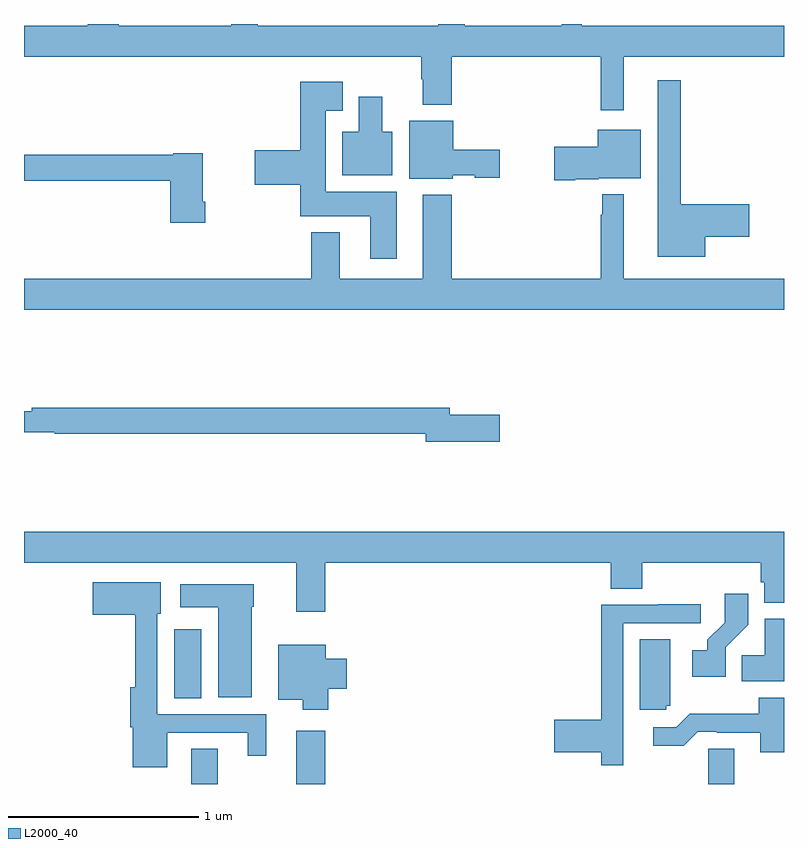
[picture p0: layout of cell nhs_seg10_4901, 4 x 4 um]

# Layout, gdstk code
import gdstk
lib = gdstk.Library(unit=1e-6, precision=1e-09)
def R(c, l, rs):  # rectangles x0, y0, x1, y1
    for r in rs: c.add(gdstk.rectangle(r[:2], r[2:], *l))
def P(c, l, *ps):  # polygons
    for p in ps: c.add(gdstk.Polygon(p, *l))
L2000_40 = (2000, 40)

nhs_seg10_4901 = lib.new_cell('nhs_seg10_4901')
R(nhs_seg10_4901, L2000_40, [(393.881,1284.5,394.021,1284.686), (394.433,1284.5,394.586,1284.781), (396.6,1284.5,396.739,1284.686), (393.791,1284.952,393.934,1285.315)])
P(nhs_seg10_4901, L2000_40, [(396.157,1288.328),(397,1288.328),(397,1288.492),(395.935,1288.492),(395.935,1288.5),(395.831,1288.5),(395.831,1288.492),(395.32,1288.492),(395.32,1288.5),(395.181,1288.5),(395.181,1288.492),(394.231,1288.492),(394.231,1288.5),(394.091,1288.5),(394.091,1288.492),(393.499,1288.492),(393.499,1288.5),(393.335,1288.5),(393.335,1288.492),(393,1288.492),(393,1288.328),(395.092,1288.328),(395.092,1288.208),(395.099,1288.208),(395.099,1288.076),(395.252,1288.076),(395.252,1288.328),(396.036,1288.328),(396.036,1288.047),(396.157,1288.047)],
  [(396.586,1287.38),(396.817,1287.38),(396.817,1287.551),(396.457,1287.551),(396.457,1288.204),(396.335,1288.204),(396.335,1287.275),(396.586,1287.275)],
  [(394.963,1287.616),(394.588,1287.616),(394.588,1288.043),(394.678,1288.043),(394.678,1288.195),(394.454,1288.195),(394.454,1287.836),(394.215,1287.836),(394.215,1287.653),(394.454,1287.653),(394.454,1287.488),(394.823,1287.488),(394.823,1287.264),(394.963,1287.264)],
  [(394.939,1287.934),(394.885,1287.934),(394.885,1288.117),(394.763,1288.117),(394.763,1287.934),(394.676,1287.934),(394.676,1287.704),(394.939,1287.704)],
  [(395.256,1287.704),(395.373,1287.704),(395.373,1287.692),(395.503,1287.692),(395.503,1287.839),(395.26,1287.839),(395.26,1287.991),(395.027,1287.991),(395.027,1287.686),(395.256,1287.686)],
  [(395.902,1287.683),(396.024,1287.683),(396.024,1287.689),(396.247,1287.689),(396.247,1287.943),(396.02,1287.943),(396.02,1287.855),(395.79,1287.855),(395.79,1287.677),(395.902,1287.677)],
  [(393.953,1287.565),(393.94,1287.565),(393.94,1287.82),(393.786,1287.82),(393.786,1287.812),(393,1287.812),(393,1287.676),(393.77,1287.676),(393.77,1287.453),(393.953,1287.453)],
  [(397,1287.16),(396.157,1287.16),(396.157,1287.604),(396.043,1287.604),(396.043,1287.497),(396.036,1287.497),(396.036,1287.16),(395.252,1287.16),(395.252,1287.601),(395.099,1287.601),(395.099,1287.16),(394.663,1287.16),(394.663,1287.403),(394.511,1287.403),(394.511,1287.16),(393,1287.16),(393,1286.996),(397,1286.996)],
  [(395.503,1286.444),(395.242,1286.444),(395.242,1286.48),(393.04,1286.48),(393.04,1286.461),(393,1286.461),(393,1286.352),(393.161,1286.352),(393.161,1286.344),(395.114,1286.344),(395.114,1286.302),(395.503,1286.302)],
  [(394.586,1285.664),(396.089,1285.664),(396.089,1285.528),(396.254,1285.528),(396.254,1285.664),(396.877,1285.664),(396.877,1285.563),(396.897,1285.563),(396.897,1285.454),(397,1285.454),(397,1285.828),(393,1285.828),(393,1285.664),(394.433,1285.664),(394.433,1285.407),(394.586,1285.407)],
  [(393.754,1284.771),(394.178,1284.771),(394.178,1284.648),(394.276,1284.648),(394.276,1284.867),(393.702,1284.867),(393.702,1285.395),(393.721,1285.395),(393.721,1285.561),(393.363,1285.561),(393.363,1285.391),(393.586,1285.391),(393.586,1285.009),(393.56,1285.009),(393.56,1284.798),(393.572,1284.798),(393.572,1284.587),(393.754,1284.587)],
  [(394.198,1285.434),(394.21,1285.434),(394.21,1285.552),(393.822,1285.552),(393.822,1285.43),(394.022,1285.43),(394.022,1284.956),(394.198,1284.956)],
  [(396.693,1285.219),(396.812,1285.338),(396.812,1285.501),(396.687,1285.501),(396.687,1285.349),(396.596,1285.259),(396.596,1285.204),(396.516,1285.204),(396.516,1285.064),(396.693,1285.064)],
  [(396.154,1284.822),(396.153,1284.822),(396.153,1285.347),(396.562,1285.347),(396.562,1285.446),(396.337,1285.446),(396.337,1285.443),(396.037,1285.443),(396.037,1284.839),(395.79,1284.839),(395.79,1284.668),(396.037,1284.668),(396.037,1284.6),(396.154,1284.6)],
  [(397,1285.369),(396.899,1285.369),(396.899,1285.178),(396.778,1285.178),(396.778,1285.04),(397,1285.04)],
  [(396.381,1284.912),(396.4,1284.912),(396.4,1285.261),(396.242,1285.261),(396.242,1284.891),(396.381,1284.891)],
  [(394.601,1285.001),(394.699,1285.001),(394.699,1285.159),(394.588,1285.159),(394.588,1285.234),(394.337,1285.234),(394.337,1284.944),(394.466,1284.944),(394.466,1284.89),(394.601,1284.89)],
  [(397,1284.955),(396.868,1284.955),(396.868,1284.871),(396.505,1284.871),(396.432,1284.798),(396.312,1284.798),(396.312,1284.701),(396.473,1284.701),(396.546,1284.774),(396.646,1284.774),(396.646,1284.771),(396.875,1284.771),(396.875,1284.666),(397,1284.666)])

lib.write_gds('nhs_seg10_4901.gds')
